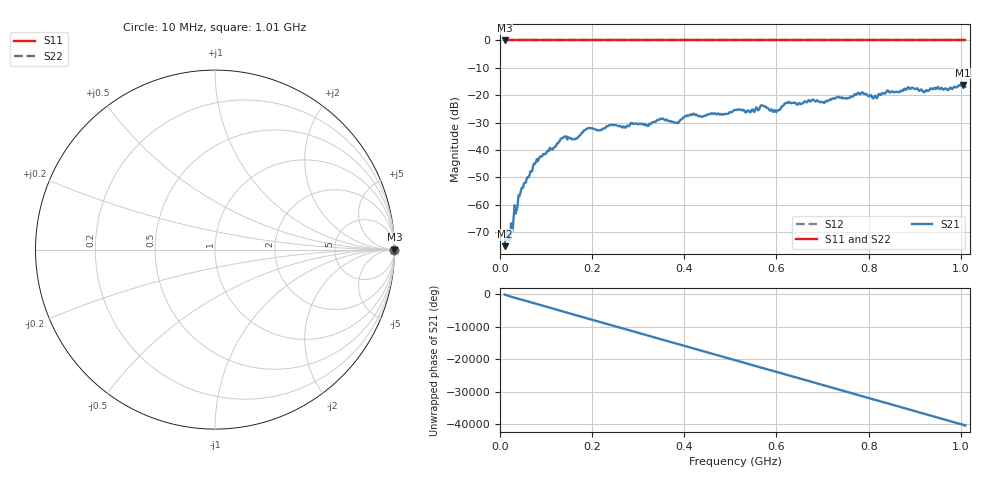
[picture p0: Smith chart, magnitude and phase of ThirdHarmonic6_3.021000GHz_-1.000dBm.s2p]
! 8/17/2025 8:41:44 AM
! C:\ANRITSUVNA\TEMP\TEMP.S2P
! CHANNEL.1
! TR.MEASUREMENT
! RAW.DATA
! RF.CORRECTION.OFF
! AVERAGING.OFF
! IF.BANDWIDTH: 5KHZ
! SWEEPTYPE:  FREQ.SWEEP(Linear)
! Reference Plane Port Info
! PORT:  PORT1  PORT2
! DISTANCE:  0  m  0  m
! TIME:  0  s  0  s
! PHASE.OFFSET:  0  deg.  0  deg.
! LOSS:  0  dB  0  dB
! REF.LOSS:  0  dB  0  dB
! REF.FREQ:  0  Hz  0  Hz
! Power Info
! POWER:  -20  dBm  -20  dBm
! EFF.POWER:  -20  dBm  -20  dBm
! SOURCE.ATTEN:  0  dB  0  dB
! TEST.ATTEN:  0  dB  0  dB
# GHZ S RI R 50.0
! FREQ.GHZ  S11RE  S11IM  S21RE  S21IM  S12RE  S12IM  S22RE  S22IM
!; PortSelection: Port_12
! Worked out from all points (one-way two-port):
!   501 points, 10 MHz to 1.01 GHz, reference 50 ohm
!   highest |S21| = -16.28 dB at 1.004 GHz (marker M1); lowest = -75.2 dB at 10 MHz (marker M2)
!   lowest |S11| = 0.0 dB at 10 MHz (marker M3)
!   |S11| at or under -10 dB: nowhere
!   |S22| runs from 0.0 to 0.0 dB; largest |S21 - S12| = 1.1
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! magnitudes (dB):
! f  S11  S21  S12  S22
! 10 MHz  0.0  -75.2  0.0  0.0
! 24 MHz  0.0  -66.8  0.0  0.0
! 44 MHz  0.0  -56.0  0.0  0.0
! 76 MHz  0.0  -45.1  0.0  0.0
! 136 MHz  0.0  -35.7  0.0  0.0
! 162 MHz  0.0  -35.9  0.0  0.0
! 178 MHz  0.0  -33.7  0.0  0.0
! 240 MHz  0.0  -30.8  0.0  0.0
! 322 MHz  0.0  -31.3  0.0  0.0
! 344 MHz  0.0  -29.1  0.0  0.0
! 384 MHz  0.0  -30.1  0.0  0.0
! 416 MHz  0.0  -27.3  0.0  0.0
! 510 MHz  0.0  -25.4  0.0  0.0
! 570 MHz  0.0  -23.8  0.0  0.0
! 596 MHz  0.0  -25.4  0.0  0.0
! 622 MHz  0.0  -22.9  0.0  0.0
! 678 MHz  0.0  -21.7  0.0  0.0
! 782 MHz  0.0  -19.7  0.0  0.0
! 814 MHz  0.0  -20.1  0.0  0.0
! 844 MHz  0.0  -18.8  0.0  0.0
! 1.004 GHz  0.0  -16.3  0.0  0.0
! 1.01 GHz  0.0  -16.9  0.0  0.0
